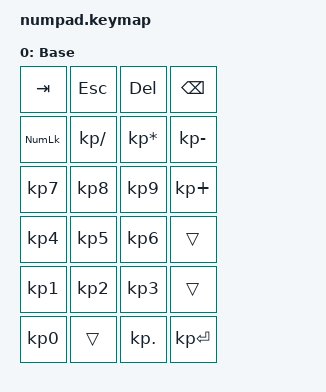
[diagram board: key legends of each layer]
#include <behaviors.dtsi>
#include <dt-bindings/zmk/keys.h>

/ {
    keymap {
        compatible = "zmk,keymap";

        default_layer {
            display-name = "Base";
            bindings = <
            &kp TAB         &kp ESCAPE      &kp DELETE      &kp BACKSPACE
            &kp KP_NUMLOCK  &kp KP_DIVIDE   &kp KP_MULTIPLY &kp KP_MINUS
            &kp KP_NUMBER_7 &kp KP_NUMBER_8 &kp KP_NUMBER_9 &kp KP_PLUS
            &kp KP_NUMBER_4 &kp KP_NUMBER_5 &kp KP_NUMBER_6 &trans
            &kp KP_NUMBER_1 &kp KP_NUMBER_2 &kp KP_NUMBER_3 &trans
            &kp KP_NUMBER_0 &trans          &kp KP_DOT      &kp KP_ENTER
            >;
        };
    };
};
